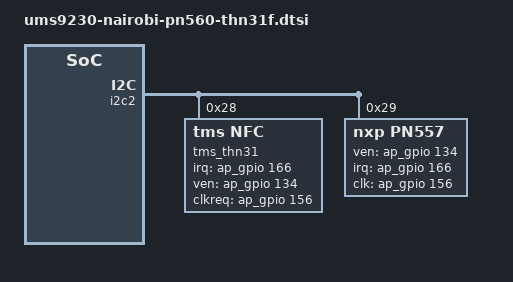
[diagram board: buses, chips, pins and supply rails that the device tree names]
/*
mixed-chipset support
NXP -> PU -> "pn560";
TMS -> PD -> "thn31f";
*/

&i2c2 {
        status = "okay";
        #address-cells = <1>;
        #size-cells = <0>;
        tms_thn31@28 {
                status = "okay";
                compatible = "tms,nfc";
                reg = <0x28>;
                mixed-chipset = <1>;
                clock-names = "tms_clk","source","enable";
                clocks = <&aon_clk CLK_AUX0>, <&ext_26m>, <&aonapb_gate CLK_AUX0_EB>;
                tms,device-name   = "tms_nfc";
                tms,device-count  = <1>;
                tms,irq-gpio      = <&ap_gpio 166 0>; //GPIO1_A0
                tms,ven-gpio      = <&ap_gpio 134 0>; //GPIO1_A1
                //tms,download-gpio = <&ap_gpio 53 0>; //GPIO1_A3
                tms,clkreq-gpio   = <&ap_gpio 156 0>;
       };
        pn557: pn557@29{
                status = "okay";
                compatible = "nxp,pn557";
                reg = <0x29>;
                mixed-chipset = <1>;
                clock-names = "pn557_clk","source","enable";
                clocks = <&aon_clk CLK_AUX0>, <&ext_26m>, <&aonapb_gate CLK_AUX0_EB>;
                nxp,ven-gpio = <&ap_gpio 134 0>;
                nxp,irq-gpio = <&ap_gpio 166 0>;
                //nxp,firm-gpio = <&ap_gpio 53 0>;
                nxp,clk-gpio = <&ap_gpio 156 0>;
        };
};
